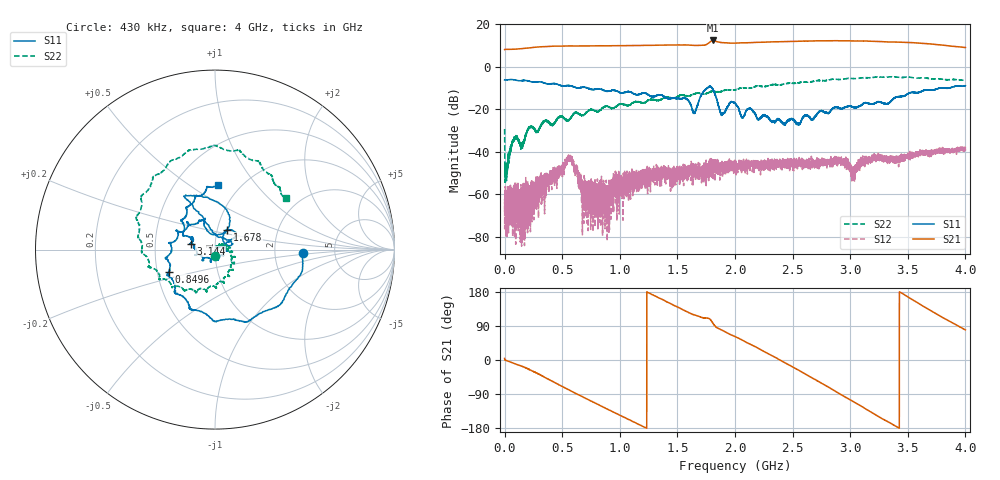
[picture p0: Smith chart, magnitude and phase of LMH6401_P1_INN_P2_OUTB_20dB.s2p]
!Keysight Technologies N9917A: A.08.18
!Date: Saturday, 27 May 2023 16:49:32
!Timezone: (GMT-07:00) Mountain Time (US & Canada)
!Model: N9917A
!Serial: MY52401314
!GPS Latitude:
!GPS Longitude:
!GPS TimeStamp: 0001-01-01 00:00:00Z
!GPS Seconds Since Last Read: 0
!CHECKSUM:0518553513
!Correction: S11(ON U)S21(ON U)S12(ON U)S22(ON U)
!S2P File: Measurements:S11,S21,S12,S22:
# Hz S DB R 50
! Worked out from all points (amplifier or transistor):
!   10000 points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, 430 kHz to 4 GHz, reference 50 ohm
!   highest |S21| = 12.3 dB at 1.81 GHz (marker M1)
!   |S21| within 3 dB of that: 310.9 MHz to 3.944 GHz (3.633 GHz wide, 171 % of centre)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
!   unconditionally stable (mu >= 1): start of sweep to end of sweep
!   at 666.8 MHz: K = 94.60, MAG = 10.3 dB, |S12| = -56.3 dB
!   at 2 GHz: K = 36.53, MAG = 11.6 dB, |S12| = -49.3 dB
!   at 4 GHz: K = 9.40, MAG = 10.9 dB, |S12| = -38.2 dB
!   S11 on the Smith chart (normalised r, x): 430 kHz: 2.90, -0.15; 849.6 MHz: 0.57, -0.15; 1.678 GHz: 1.12, +0.25; 3.144 GHz: 0.76, +0.05; 4 GHz: 0.79, +0.65
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429997  -6.22 -2.2  8.05 4.1  -68.27 -112.0  -29.28 -91.1
2.242983e7  -6.19 -6.3  8.17 -2.1  -68.13 112.5  -48.63 -87.2
8.722935e7  -6.22 -19.1  8.23 -9.7  -64.63 6.9  -33.99 48.4
3.048277e8  -7.13 -66.2  9.32 -38.5  -59.65 110.3  -28.90 27.0
5.636258e8  -8.93 -113.2  9.75 -79.6  -42.58 -31.8  -24.53 4.0
6.67225e8  -9.85 -130.5  9.78 -95.6  -56.91 -108.9  -22.90 5.2
8.496236e8  -10.87 -154.6  9.84 -123.4  -58.56 -60.6  -19.45 -23.5
1.096422e9  -11.89 171.3  9.95 -159.8  -53.18 -26.7  -17.74 -47.7
1.33362e9  -13.28 135.3  10.11 164.7  -47.78 -79.5  -15.74 -69.5
1.678417e9  -17.70 58.6  10.01 116.0  -48.18 -105.0  -12.49 -101.5
1.774817e9  -9.46 116.3  11.28 109.1  -48.30 -76.1  -12.17 -113.7
1.810016e9  -10.82 118.0  12.33 96.5  -44.90 -112.9  -11.53 -114.5
1.887216e9  -22.47 64.4  11.33 78.5  -46.59 -126.3  -11.54 -123.9
2.000415e9  -17.17 53.2  11.11 61.8  -49.31 -137.7  -10.81 -133.6
2.353612e9  -25.85 -36.3  11.72 6.3  -47.76 177.3  -8.38 -165.7
2.66681e9  -24.87 -123.5  12.08 -46.9  -46.13 153.7  -7.10 161.8
2.896008e9  -19.01 -164.8  12.20 -87.0  -43.46 122.2  -6.00 140.4
3.144406e9  -17.05 166.1  12.05 -131.0  -42.72 113.3  -5.16 114.9
3.333605e9  -17.20 154.9  11.61 -163.9  -43.20 93.8  -4.87 93.2
3.500004e9  -12.75 140.4  11.37 166.6  -41.63 87.0  -4.87 76.6
3.680802e9  -10.95 123.0  10.74 133.5  -40.80 60.4  -5.55 60.5
4e9  -8.90 87.6  8.99 79.5  -38.20 11.3  -6.16 36.2
